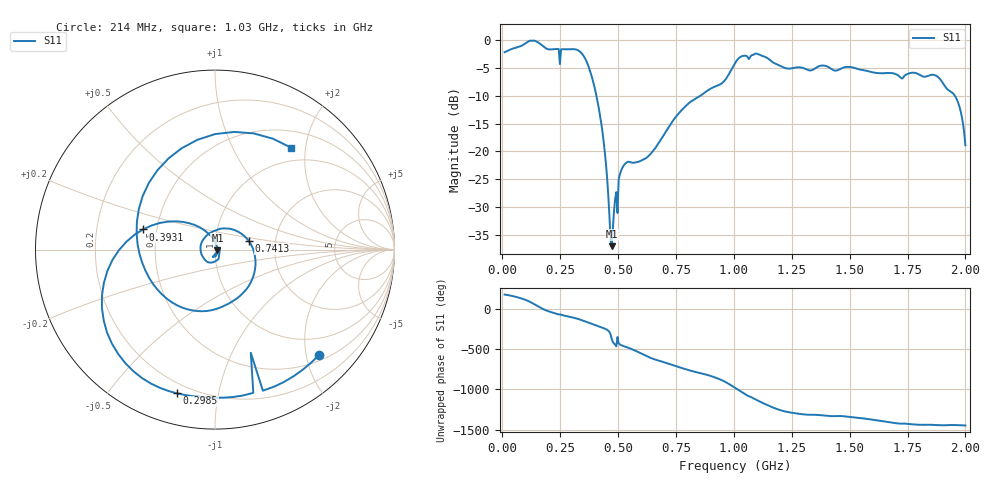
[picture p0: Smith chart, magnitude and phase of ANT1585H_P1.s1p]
!Created with skrf (http://scikit-rf.org).
# Hz S RI R 50.0
!freq ReS11 ImS11
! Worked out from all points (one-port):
!   401 points, 10 MHz to 2 GHz, reference 50 ohm
!   lowest |S11| = -37.1 dB at 472.7 MHz (marker M1), VSWR 1.03, Z = 51.4 - j0.384 ohm
!   |S11| at or under -10 dB: 406.4 MHz to 855.8 MHz (449.4 MHz wide, 71.2 % of centre); 1.954 GHz to end of sweep
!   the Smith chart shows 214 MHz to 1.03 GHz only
!   S11 on the Smith chart (normalised r, x): 214 MHz: 0.61, -2.25; 298.6 MHz: 0.15, -0.76; 393.1 MHz: 0.42, +0.11; 741.3 MHz: 1.45, +0.15; 1.03 GHz: 0.76, +1.73
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1e7  -0.7762 0.0565
7.4675e7  -0.6098 0.6263
1.24425e8  0.2084 0.9697
1.64225e8  0.8961 0.2223
2.13975e8  0.5791 -0.5878
2.5875e8  0.1524 -0.8136
2.9855e8  -0.2114 -0.801
3.483e8  -0.6198 -0.3952
3.93075e8  -0.4017 0.112
4.32875e8  -0.0826 0.123
4.72675e8  0.0135 -0.00374
5.075e8  0.00802 -0.0612
6.07e8  -0.0759 0.036
7.41325e8  0.1876 0.0489
7.5625e8  0.2125 0.00282
9.055e8  -0.1839 -0.3226
9.70175e8  -0.4351 0.1548
1.005e9  -0.0978 0.612
1.029875e9  0.4232 0.5683
1.049775e9  0.6894 0.2214
1.07465e9  0.6921 -0.2171
1.119425e9  0.0869 -0.72
1.17415e9  -0.5488 -0.2911
1.25375e9  -0.4722 0.3001
1.5025e9  -0.0622 0.5702
1.75125e9  0.489 0.0895
1.945275e9  0.3336 -0.0176
2e9  0.1121 -0.0172
